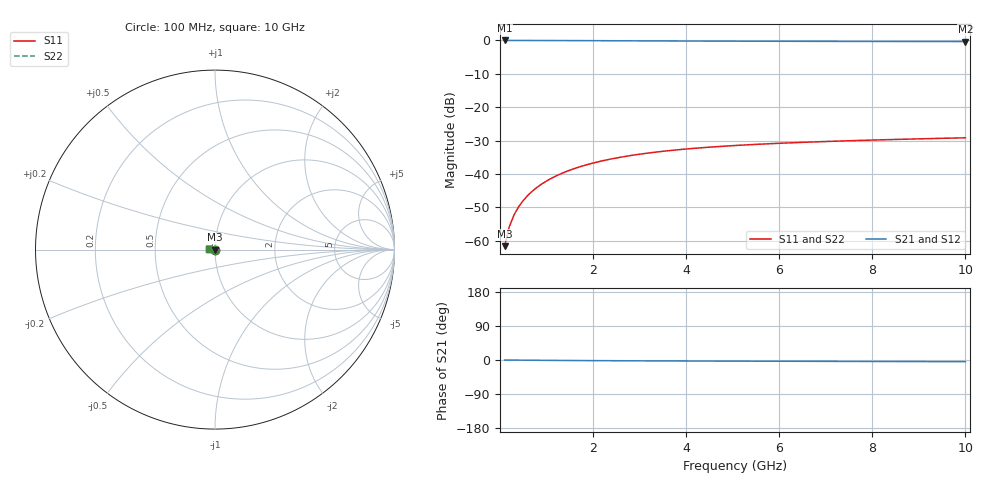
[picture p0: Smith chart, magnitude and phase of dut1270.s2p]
! Touchstone file exported from HFSS 2024.1.0
!  File:  C:/UserFiles/LocalFiles/RDL_TSV_Batchsim/temp_TSV1_1270_1780254381.aedt
!  Generated:  03:11:31 AM Jun  1, 2026
!  Design:  TSV1
!  Project:  temp_TSV1_1270_1780254381
!  Setup:  Setup1
!  Solution:  Sweep
! Variables:
!  dtsv = 7.3um
!  hbump = 3um
!  htsv = 68.84um
!  lrdl = 252.1521522um
!  p = 40
!  p1 = 40.34um
!  t = 500um
!  trdl = 3um
!  wrdl = 24.89489489um
# GHz S MA R 50.000000
! Terminal data exported
! Port[1] = TSV22_T1
! Port[2] = TSV22_T2
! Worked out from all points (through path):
!   100 points, 100 MHz to 10 GHz, reference 50 ohm
!   highest |S21| = 0.00 dB at 100 MHz (marker M1); lowest = -0.3 dB at 10 GHz (marker M2)
!   lowest |S11| = -61.6 dB at 100 MHz (marker M3), VSWR 1.00, Z = 50 - j0.08 ohm
!   |S11| at or under -10 dB: start of sweep to end of sweep
!   |S22| runs from -61.6 to -29.2 dB; largest |S21 - S12| = 9.4e-15
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0.1  0.0008309 -74.2  0.9997 -0.1  0.9997 -0.1  0.0008309 -74.2
! Gamma 0 0 0 0
! Port Impedance 50 0 50 0
0.2  0.001624 -84.3  0.9996 -0.2  0.9996 -0.2  0.001624 -84.3
0.3  0.002422 -88.9  0.9995 -0.3  0.9995 -0.3  0.002422 -88.9
0.4  0.003219 -92.0  0.9993 -0.4  0.9993 -0.4  0.003219 -92.0
0.5  0.004011 -94.6  0.9991 -0.5  0.9991 -0.5  0.004011 -94.6
0.6  0.004796 -96.8  0.9989 -0.6  0.9989 -0.6  0.004796 -96.8
0.7  0.005575 -98.8  0.9986 -0.6  0.9986 -0.6  0.005575 -98.8
0.8  0.006344 -100.8  0.9982 -0.7  0.9982 -0.7  0.006344 -100.8
0.9  0.007103 -102.6  0.9979 -0.8  0.9979 -0.8  0.007103 -102.6
1.1  0.008588 -106.1  0.997 -1.0  0.997 -1.0  0.008588 -106.1
1.4  0.01072 -111.0  0.9955 -1.2  0.9955 -1.2  0.01072 -111.0
1.6  0.01207 -114.1  0.9944 -1.4  0.9944 -1.4  0.01207 -114.1
1.8  0.01336 -117.1  0.9933 -1.5  0.9933 -1.5  0.01336 -117.1
2.1  0.01517 -121.4  0.9914 -1.7  0.9914 -1.7  0.01517 -121.4
2.5  0.01738 -126.8  0.9889 -2.0  0.9889 -2.0  0.01738 -126.8
2.9  0.01934 -131.8  0.9864 -2.2  0.9864 -2.2  0.01934 -131.8
3.4  0.02149 -137.5  0.9834 -2.4  0.9834 -2.4  0.02149 -137.5
4.2  0.02432 -145.6  0.979 -2.7  0.979 -2.7  0.02432 -145.6
5.1  0.02683 -153.4  0.9749 -3.0  0.9749 -3.0  0.02683 -153.4
6.7  0.03016 -164.9  0.9695 -3.5  0.9695 -3.5  0.03016 -164.9
8.4  0.03279 -174.8  0.9655 -4.0  0.9655 -4.0  0.03279 -174.8
10  0.03485 177.4  0.9628 -4.5  0.9628 -4.5  0.03485 177.4
